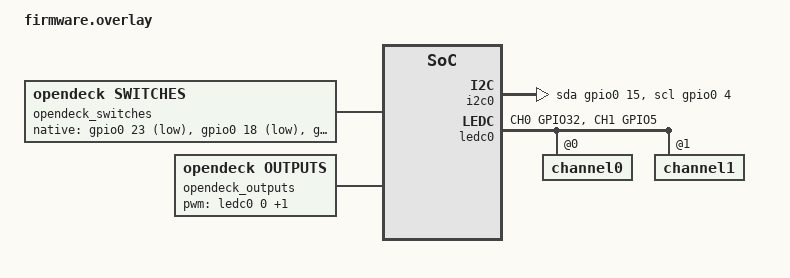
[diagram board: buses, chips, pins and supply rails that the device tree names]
/ {
    opendeck_metadata: opendeck-metadata {
        compatible = "opendeck,metadata";
        zephyr-board = "esp32_ethernet_kit/esp32/procpu";
        board-name = "wESP32";
    };

    opendeck_transports: opendeck-transports {
        compatible = "opendeck,transports";
        network;
    };

    opendeck_tests: opendeck-tests {
        compatible = "opendeck,tests";
        host;
    };

    opendeck_bulk_build: opendeck-bulk-build {
        compatible = "opendeck,bulk-build";
        app;
        host-test;
        lint;
    };

    opendeck_switches: opendeck-switches {
        compatible = "opendeck,switches";
        mode = "native";
        native-gpios =
            <&gpio0 23 (GPIO_PULL_UP | GPIO_ACTIVE_LOW)>,
            <&gpio0 18 (GPIO_PULL_UP | GPIO_ACTIVE_LOW)>,
            <&gpio0 13 (GPIO_PULL_UP | GPIO_ACTIVE_LOW)>,
            <&gpio0 14 (GPIO_PULL_UP | GPIO_ACTIVE_LOW)>;
    };

    opendeck_outputs: opendeck-outputs {
        compatible = "opendeck,outputs";
        mode = "pwm";
        pwms =
            <&ledc0 0 PWM_MSEC(1) PWM_POLARITY_NORMAL>, /* GPIO32 */
            <&ledc0 1 PWM_MSEC(1) PWM_POLARITY_NORMAL>; /* GPIO5 */
    };

    opendeck_i2c: opendeck-i2c {
        compatible = "opendeck,i2c";
        bus = <&opendeck_i2c_bus>;
    };
};

&pinctrl {
    wesp32_i2c0_default: wesp32_i2c0_default {
        group1 {
            pinmux = <I2C0_SDA_GPIO15>,
                     <I2C0_SCL_GPIO4>;
            bias-pull-up;
            drive-open-drain;
            output-high;
        };
    };
};

opendeck_i2c_bus: &i2c0 {};

&i2c0 {
    status = "okay";
    sda-gpios = <&gpio0 15 GPIO_OPEN_DRAIN>;
    scl-gpios = <&gpio0 4 GPIO_OPEN_DRAIN>;
    pinctrl-0 = <&wesp32_i2c0_default>;
};

&pinctrl {
    opendeck_ledc0_default: opendeck_ledc0_default {
        group1 {
            pinmux = <LEDC_CH0_GPIO32>,
                     <LEDC_CH1_GPIO5>;
            output-enable;
        };
    };
};

&ledc0 {
    pinctrl-0 = <&opendeck_ledc0_default>;
    pinctrl-names = "default";
    status = "okay";
    #address-cells = <1>;
    #size-cells = <0>;

    channel0@0 {
        reg = <0>;
        timer = <0>;
    };

    channel1@1 {
        reg = <1>;
        timer = <0>;
    };
};
